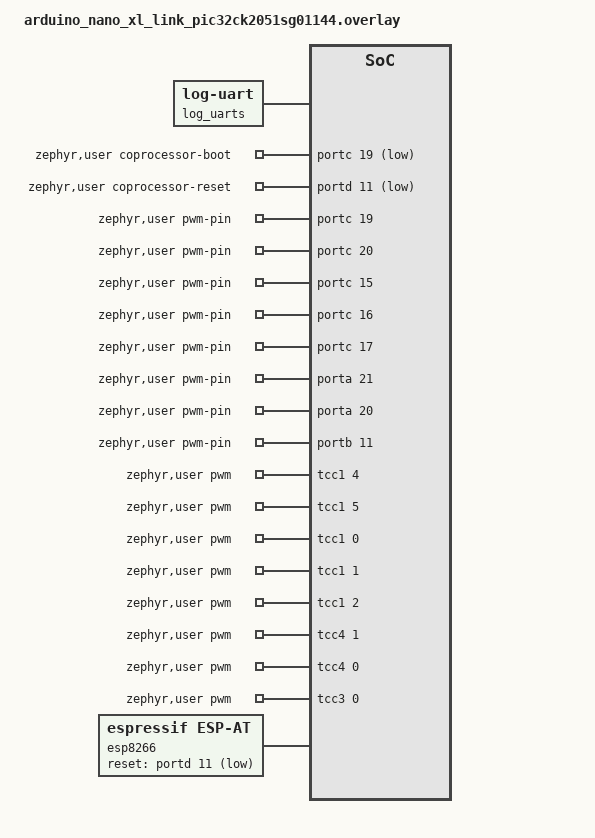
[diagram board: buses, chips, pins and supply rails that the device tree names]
/*
 * Copyright (c) Arduino s.r.l. and/or its affiliated companies
 *
 * SPDX-License-Identifier: Apache-2.0
 */

#include <zephyr/dt-bindings/gpio/gpio.h>
#include <zephyr/dt-bindings/pwm/pwm.h>
#include "arduino_nano_xl_link_pic32ck2051sg01144-common.overlay"

#include "retained_mem.dtsi"

&pinctrl {
	tcc2_arduino_wo2: tcc2_arduino_wo2 {
		group1 {
			pinmux = <PD11F_TCC2_WO2>;
		};
	};
};

&tcc2 {
	zephyr,deferred-init;
	pinctrl-0 = <&empty_default>;
	pinctrl-1 = <&empty_default>;
	pinctrl-2 = <&tcc2_arduino_wo2>;
	pinctrl-names = "default", "sleep", "arduino";
};

/*
 * ESP8266 AT module on the Connector carrier: sercom1 with D7 as its reset
 * line. The module may not be fitted: the driver neither opens the UART nor
 * drives D7 until the WiFi library brings its interface up
 * (CONFIG_WIFI_ESP_AT_NET_IF_NO_AUTO_START), so sercom1 is Serial2 and D7 a
 * plain pin otherwise.
 */
&sercom1 {
	esp8266: esp8266 {
		compatible = "espressif,esp-at";
		reset-gpios = <&portd 11 GPIO_ACTIVE_LOW>;
	};
};

/ {
	log_uarts: log_uarts {
		compatible = "zephyr,log-uart";
		uarts = <&sercom6 &board_cdc_acm_uart>;
	};

	chosen {
		zephyr,log-uart = &log_uarts;
		zephyr,console = &sercom6;
	};

	zephyr,user {
		/*
		 * ESP8266 firmware update through the WiFi SerialBridge example: USB
		 * DTR drives GPIO0 (D2) and RTS drives reset (D7), as on the usual
		 * esptool auto-reset circuit.
		 */
		coprocessor-serial = <&sercom1>;
		coprocessor-boot-gpios = <&portc 19 GPIO_ACTIVE_LOW>;
		coprocessor-reset-gpios = <&portd 11 GPIO_ACTIVE_LOW>;

		serials = <&sercom6>, <&sercom1>, <&sercom0>;

		pwm-pin-gpios = <&portc 19 0>,
				<&portc 20 0>,
				<&portc 15 0>,
				<&portc 16 0>,
				<&portc 17 0>,
				<&porta 21 0>,
				<&porta 20 0>,
				<&portb 11 0>,
				<&portd 11 0>,
				<&porta 23 0>,
				<&portb 24 0>;

		pwms = <&tcc1 4 PWM_HZ(500) 0>,
		       <&tcc1 5 PWM_HZ(500) 0>,
		       <&tcc1 0 PWM_HZ(500) PWM_POLARITY_INVERTED>,
		       <&tcc1 1 PWM_HZ(500) PWM_POLARITY_INVERTED>,
		       <&tcc1 2 PWM_HZ(500) PWM_POLARITY_INVERTED>,
		       <&tcc4 1 PWM_HZ(500) 0>,
		       <&tcc4 0 PWM_HZ(500) 0>,
		       <&tcc3 0 PWM_HZ(500) 0>,
		       <&tcc2 2 PWM_HZ(500) 0>,
		       <&tcc5 1 PWM_HZ(500) 0>,
		       <&tcc6 1 PWM_HZ(500) 0>;
	};
};
